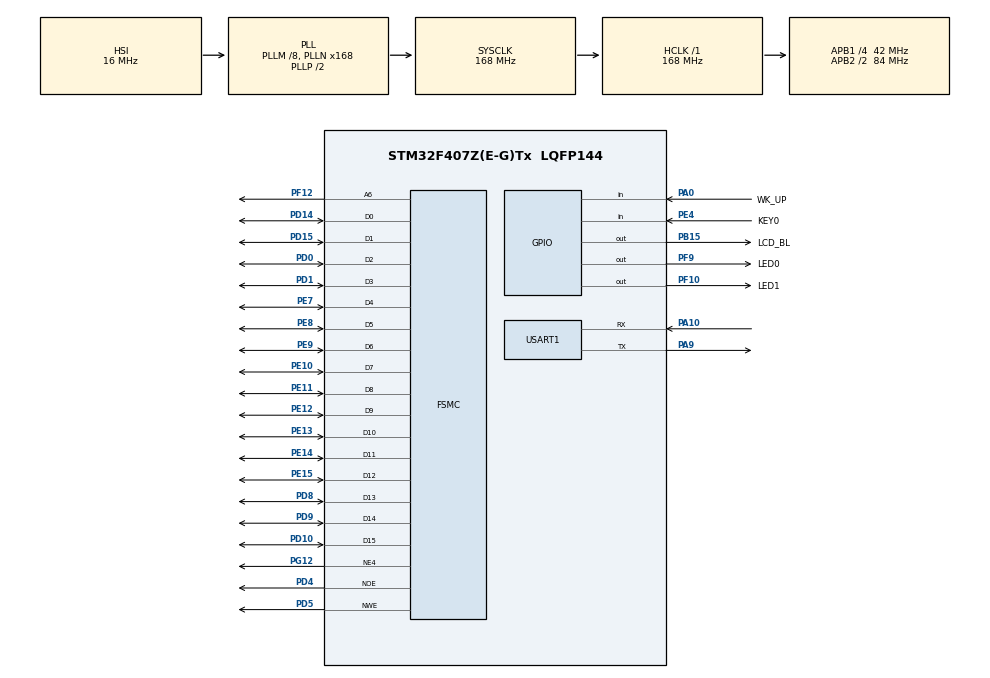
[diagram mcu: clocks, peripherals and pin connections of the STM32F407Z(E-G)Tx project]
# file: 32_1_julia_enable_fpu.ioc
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FSMC.AddressSetupTime1=15
FSMC.BusTurnAroundDuration1=0
FSMC.DataSetupTime1=60
FSMC.ExtendedAddressSetupTime1=9
FSMC.ExtendedBusTurnAroundDuration1=0
FSMC.ExtendedDataSetupTime1=9
FSMC.ExtendedMode1=FSMC_EXTENDED_MODE_ENABLE
Mcu.Family=STM32F4
Mcu.Name=STM32F407Z(E-G)Tx
Mcu.Package=LQFP144
NVIC.PriorityGroup=NVIC_PRIORITYGROUP_2
NVIC.TIM6_DAC_IRQn=true\:2\:1\:true\:false\:true\:true\:true\:true
NVIC.USART1_IRQn=true\:2\:2\:true\:false\:true\:true\:true\:true
PA0-WKUP.GPIO_Label=WK_UP
PA0-WKUP.GPIO_PuPd=GPIO_PULLDOWN
PA0-WKUP.Signal=GPIO_Input
PA10.GPIO_PuPd=GPIO_PULLUP
PA10.Mode=Asynchronous
PA10.Signal=USART1_RX
PA13.Mode=Serial_Wire
PA13.Signal=SYS_JTMS-SWDIO
PA14.Mode=Serial_Wire
PA14.Signal=SYS_JTCK-SWCLK
PA9.GPIO_PuPd=GPIO_PULLUP
PA9.Mode=Asynchronous
PA9.Signal=USART1_TX
PB15.GPIO_Label=LCD_BL
PB15.GPIO_PuPd=GPIO_PULLUP
PB15.GPIO_Speed=GPIO_SPEED_FREQ_VERY_HIGH
PB15.PinState=GPIO_PIN_SET
PB15.Signal=GPIO_Output
PC14-OSC32_IN.Mode=LSE-External-Oscillator
PC14-OSC32_IN.Signal=RCC_OSC32_IN
PC15-OSC32_OUT.Mode=LSE-External-Oscillator
PC15-OSC32_OUT.Signal=RCC_OSC32_OUT
PD0.Signal=FSMC_D2_DA2
PD1.Signal=FSMC_D3_DA3
PD10.Signal=FSMC_D15_DA15
PD14.Signal=FSMC_D0_DA0
PD15.Signal=FSMC_D1_DA1
PD4.Signal=FSMC_NOE
PD5.Signal=FSMC_NWE
PD8.Signal=FSMC_D13_DA13
PD9.Signal=FSMC_D14_DA14
PE10.Signal=FSMC_D7_DA7
PE11.Signal=FSMC_D8_DA8
PE12.Signal=FSMC_D9_DA9
PE13.Signal=FSMC_D10_DA10
PE14.Signal=FSMC_D11_DA11
PE15.Signal=FSMC_D12_DA12
PE4.GPIO_Label=KEY0
PE4.GPIO_PuPd=GPIO_PULLDOWN
PE4.Signal=GPIO_Input
PE7.Signal=FSMC_D4_DA4
PE8.Signal=FSMC_D5_DA5
PE9.Signal=FSMC_D6_DA6
PF10.GPIO_Label=LED1
PF10.GPIO_PuPd=GPIO_PULLDOWN
PF10.GPIO_Speed=GPIO_SPEED_FREQ_VERY_HIGH
PF10.PinState=GPIO_PIN_SET
PF10.Signal=GPIO_Output
PF12.Signal=FSMC_A6
PF9.GPIO_Label=LED0
PF9.GPIO_PuPd=GPIO_PULLDOWN
PF9.GPIO_Speed=GPIO_SPEED_FREQ_VERY_HIGH
PF9.PinState=GPIO_PIN_SET
PF9.Signal=GPIO_Output
PG12.Mode=NorPsramChipSelect4_1
PG12.Signal=FSMC_NE4
PH0-OSC_IN.Mode=HSE-External-Oscillator
PH0-OSC_IN.Signal=RCC_OSC_IN
PH1-OSC_OUT.Mode=HSE-External-Oscillator
PH1-OSC_OUT.Signal=RCC_OSC_OUT
ProjectManager.HeapSize=0x200
ProjectManager.StackSize=0x400
ProjectManager.TargetToolchain=STM32CubeIDE
RCC.48MHZClocksFreq_Value=84000000
RCC.AHBFreq_Value=168000000
RCC.APB1CLKDivider=RCC_HCLK_DIV4
RCC.APB1Freq_Value=42000000
RCC.APB1TimFreq_Value=84000000
RCC.APB2CLKDivider=RCC_HCLK_DIV2
RCC.APB2Freq_Value=84000000
RCC.APB2TimFreq_Value=168000000
RCC.CortexFreq_Value=168000000
RCC.HCLKFreq_Value=168000000
RCC.HSE_VALUE=25000000
RCC.HSI_VALUE=16000000
RCC.PLLM=8
RCC.PLLN=168
RCC.SYSCLKFreq_VALUE=168000000
RCC.SYSCLKSource=RCC_SYSCLKSOURCE_PLLCLK
RCC.VCOOutputFreq_Value=336000000
SH.FSMC_A6.0=FSMC_A6,A6_1
SH.FSMC_D0_DA0.0=FSMC_D0,16b-d1
SH.FSMC_D10_DA10.0=FSMC_D10,16b-d1
SH.FSMC_D11_DA11.0=FSMC_D11,16b-d1
SH.FSMC_D12_DA12.0=FSMC_D12,16b-d1
SH.FSMC_D13_DA13.0=FSMC_D13,16b-d1
SH.FSMC_D14_DA14.0=FSMC_D14,16b-d1
SH.FSMC_D15_DA15.0=FSMC_D15,16b-d1
SH.FSMC_D1_DA1.0=FSMC_D1,16b-d1
SH.FSMC_D2_DA2.0=FSMC_D2,16b-d1
SH.FSMC_D3_DA3.0=FSMC_D3,16b-d1
SH.FSMC_D4_DA4.0=FSMC_D4,16b-d1
SH.FSMC_D5_DA5.0=FSMC_D5,16b-d1
SH.FSMC_D6_DA6.0=FSMC_D6,16b-d1
SH.FSMC_D7_DA7.0=FSMC_D7,16b-d1
SH.FSMC_D8_DA8.0=FSMC_D8,16b-d1
SH.FSMC_D9_DA9.0=FSMC_D9,16b-d1
SH.FSMC_NOE.0=FSMC_NOE,Lcd1
SH.FSMC_NWE.0=FSMC_NWE,Lcd1
TIM6.AutoReloadPreload=TIM_AUTORELOAD_PRELOAD_ENABLE
TIM6.Prescaler=8400 - 1
USART1.VirtualMode=VM_ASYNC
VP_TIM6_VS_ClockSourceINT.Mode=Enable_Timer
board=custom

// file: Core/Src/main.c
/* USER CODE BEGIN Header */
/**
 ****************************************************************************************************
 * @file        main.c
 * @author      ALIENTEK
 * @brief       Julia_Enable_FPU code
 * @license     Copyright (C) 2020-2032, ALIENTEK
 ****************************************************************************************************
 * @attention
 *
 * platform     : ALIENTEK M144-STM32F407 board
 * website      : https://www.alientek.com
 * forum        : http://www.openedv.com/forum.php
 *
 * change logs  :
 * version    data    notes
 * V1.0     20240410  the first version
 *
 ****************************************************************************************************
 */
/* USER CODE END Header */
#include "main.h"
#include "tim.h"
#include "usart.h"
#include "gpio.h"
#include "fsmc.h"

/* USER CODE BEGIN Includes */
#include "../../BSP/LED/led.h"
#include "../../BSP/KEY/key.h"
#include "../../BSP/LCD/lcd.h"
#include "../../SYSTEM/delay/delay.h"
/* USER CODE END Includes */

/* USER CODE BEGIN PTD */

/* FPU mode prompt */
#if (__FPU_PRESENT == 1) && (__FPU_USED == 1)
#define FPU_MODE        "FPU ON"
#else
#define FPU_MODE        "FPU OFF"
#endif

#define ITERATION 		128 	/* Number of iterations */
#define REAL_CONSTANT 	0.285f 	/* Real part constant */
#define IMG_CONSTANT 	0.01f 	/* Imaginary part constant */

/* Color table */
static uint16_t g_color_map[ITERATION];

/* List of scaling factors */
static const uint16_t zoom_ratio[] =
{
    120, 110, 100, 150, 200, 275, 350, 450,
    600, 800, 1000, 1200, 1500, 2000, 1500,
    1200, 1000, 800, 600, 450, 350, 275, 200,
    150, 100, 110,
};

uint8_t g_timeout;

/* USER CODE END PTD */

void SystemClock_Config(void);

/* USER CODE BEGIN 0 */

/**
 * @brief 	Initializes the color table
 * @param 	clut: Pointer to the color table
 * @retval 	None
 */
void julia_clut_init(uint16_t *clut)
{
    uint32_t i;
    uint16_t red;
    uint16_t green;
    uint16_t blue;

    for (i=0; i<ITERATION; i++)
    {
    	/* Produces RGB color values */
        red = (i * 8 * 256 / ITERATION) % 256;
        green = (i * 6 * 256 / ITERATION) % 256;
        blue = (i * 4 * 256 / ITERATION) % 256;

        /* Convert RGB888 to RGB565 */
        red = red >> 3;
        red = red << 11;
        green = green >> 2;
        green = green << 5;
        blue = blue >> 3;
        clut[i] = red + green + blue;
    }
}

/**
 * @brief 	Produces Julia fractal graphics
 * @param 	size_x: size of the screen in the X direction
 * @param 	size_y: indicates the size of the screen in the Y direction
 * @param 	offset_x: indicates the offset in the X direction of the screen
 * @param 	offset_y: indicates the offset in the Y direction of the screen
 * @param 	zoom: zoom factor
 * @retval 	None
 */
void julia_generate_fpu(uint16_t size_x, uint16_t size_y, uint16_t offset_x, uint16_t offset_y, uint16_t zoom)
{
    uint8_t i;
    uint16_t x;
    uint16_t y;
    float tmp1;
    float tmp2;
    float num_real;
    float num_img;
    float radius;

    for (y=0; y<size_y; y++)
    {
        for (x=0; x<size_x; x++)
        {
            num_real = y - offset_y;
            num_real = num_real / zoom;
            num_img = x - offset_x;
            num_img = num_img / zoom;
            i = 0;
            radius = 0;

            while ((i < ITERATION - 1) && (radius < 4))
            {
                tmp1 = num_real * num_real;
                tmp2 = num_img * num_img;
                num_img = 2 * num_real * num_img + IMG_CONSTANT;
                num_real = tmp1 - tmp2 + REAL_CONSTANT;
                radius = tmp1 + tmp2;
                i++;
            }

            LCD->LCD_RAM = g_color_map[i];
        }
    }
}

/* USER CODE END 0 */

int main(void)
{
  /* USER CODE BEGIN 1 */
    uint8_t key;
    uint8_t zoom = 0;
    uint8_t autorun = 0;
    float time;
    char buf[50];
  /* USER CODE END 1 */

  /* MCU Configuration--------------------------------------------------------*/

  /* Reset of all peripherals, Initializes the Flash interface and the Systick. */
  HAL_Init();

  /* Configure the system clock */
  SystemClock_Config();

  /* USER CODE BEGIN SysInit */
  delay_init(168);
  /* USER CODE END SysInit */

  /* Initialize all configured peripherals */
  MX_GPIO_Init();
  MX_USART1_UART_Init();
  MX_FSMC_Init();
  MX_TIM6_Init();
  /* USER CODE BEGIN 2 */

  lcd_init();

  lcd_show_string(30, 50, 200, 16, 16, "STM32", RED);
  lcd_show_string(30, 70, 200, 16, 16, "FPU TEST", RED);
  lcd_show_string(30, 90, 200, 16, 16, "ATOM@ALIENTEK", RED);

  lcd_show_string(30, 110, 200, 16, 16, "KEY_UP:+", RED);
  lcd_show_string(30, 130, 200, 16, 16, "KEY0:Auto/Manul", RED);

  HAL_Delay(500);

  /* Initializes the color table */
  julia_clut_init(g_color_map);

  /* USER CODE END 2 */

  /* Infinite loop */
  while (1)
  {

      key = key_scan(0);
      if (key == WKUP_PRES)
      {
          if (++zoom > (sizeof(zoom_ratio) / sizeof(uint16_t) - 1))
          {
              zoom = 0;
          }
      }
      else if (key == KEY0_PRES)
      {
          autorun = !autorun;
      }

      if (autorun != 0)
      {
          LED1(0);
          if (++zoom > (sizeof(zoom_ratio) / sizeof(uint16_t) - 1))
          {
              zoom = 0;
          }
      }
      else
      {
          LED1(1);
      }

      /* Drawing and timing preparation */
      lcd_set_window(0, 0, lcddev.width, lcddev.height);
      lcd_write_ram_prepare();
      __HAL_TIM_SET_COUNTER(&htim6, 0);
      g_timeout = 0;

      /* Drawing and calculation time */
      julia_generate_fpu(lcddev.width, lcddev.height, lcddev.width / 2, lcddev.height / 2, zoom_ratio[zoom]);
      time = __HAL_TIM_GET_COUNTER(&htim6) + (uint32_t)g_timeout * 0x10000;
      sprintf(buf, "%s: zoom:%d  runtime:%0.1fms\r\n", FPU_MODE, zoom_ratio[zoom], time / 10);
      lcd_show_string(5, lcddev.height - 5 - 12, lcddev.width - 5, 12, 12, buf, RED);
      printf("%s", buf);
      LED0_TOGGLE();

  }
}

void SystemClock_Config(void)
{
  RCC_OscInitTypeDef RCC_OscInitStruct = {0};
  RCC_ClkInitTypeDef RCC_ClkInitStruct = {0};

  /** Configure the main internal regulator output voltage
  */
  __HAL_RCC_PWR_CLK_ENABLE();
  __HAL_PWR_VOLTAGESCALING_CONFIG(PWR_REGULATOR_VOLTAGE_SCALE1);

  /** Initializes the RCC Oscillators according to the specified parameters
  * in the RCC_OscInitTypeDef structure.
  */
  RCC_OscInitStruct.OscillatorType = RCC_OSCILLATORTYPE_HSI;
  RCC_OscInitStruct.HSIState = RCC_HSI_ON;
  RCC_OscInitStruct.HSICalibrationValue = RCC_HSICALIBRATION_DEFAULT;
  RCC_OscInitStruct.PLL.PLLState = RCC_PLL_ON;
  RCC_OscInitStruct.PLL.PLLSource = RCC_PLLSOURCE_HSI;
  RCC_OscInitStruct.PLL.PLLM = 8;
  RCC_OscInitStruct.PLL.PLLN = 168;
  RCC_OscInitStruct.PLL.PLLP = RCC_PLLP_DIV2;
  RCC_OscInitStruct.PLL.PLLQ = 4;
  if (HAL_RCC_OscConfig(&RCC_OscInitStruct) != HAL_OK)
  {
    Error_Handler();
  }

  /** Initializes the CPU, AHB and APB buses clocks
  */
  RCC_ClkInitStruct.ClockType = RCC_CLOCKTYPE_HCLK|RCC_CLOCKTYPE_SYSCLK
                              |RCC_CLOCKTYPE_PCLK1|RCC_CLOCKTYPE_PCLK2;
  RCC_ClkInitStruct.SYSCLKSource = RCC_SYSCLKSOURCE_PLLCLK;
  RCC_ClkInitStruct.AHBCLKDivider = RCC_SYSCLK_DIV1;
  RCC_ClkInitStruct.APB1CLKDivider = RCC_HCLK_DIV4;
  RCC_ClkInitStruct.APB2CLKDivider = RCC_HCLK_DIV2;

  if (HAL_RCC_ClockConfig(&RCC_ClkInitStruct, FLASH_LATENCY_5) != HAL_OK)
  {
    Error_Handler();
  }
}

void Error_Handler(void)
{
  __disable_irq();
  while (1)
  {
  }
}
